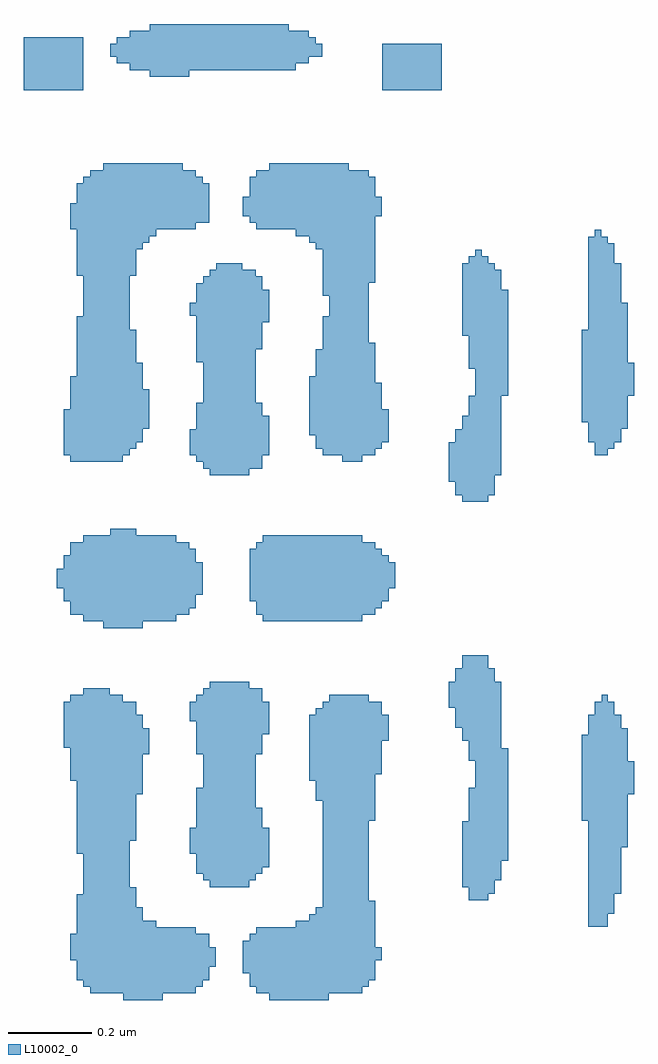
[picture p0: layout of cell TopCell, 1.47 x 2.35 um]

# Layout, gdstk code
import gdstk
lib = gdstk.Library(unit=1e-6, precision=1e-09)
def R(c, l, rs):  # rectangles x0, y0, x1, y1
    for r in rs: c.add(gdstk.rectangle(r[:2], r[2:], *l))
def A(c, l, x, y, w, h, nx, ny, dx, dy):  # array of equal rectangles
    R(c, l, [(x+i*dx, y+j*dy, x+i*dx+w, y+j*dy+h) for i in range(nx) for j in range(ny)])
L10002_0 = (10002, 0)

topcell = lib.new_cell('TopCell')
A(topcell, L10002_0, 1.136, 1.744, 0.016, 0.111, 1, 3, 0, 0.352)
R(topcell, L10002_0, [(1.28,1.136,1.295,1.855), (1.295,1.136,1.311,1.407), (1.311,1.136,1.327,1.359), (1.327,1.136,1.359,1.327), (1.359,1.136,1.375,1.311), (1.632,1.136,1.775,1.311), (1.2,1.152,1.247,1.887), (1.247,1.152,1.279,1.871), (1.279,1.152,1.28,1.855), (1.375,1.152,1.455,1.311), (1.6,1.152,1.632,1.311), (1.775,1.152,1.855,1.855), (1.184,1.168,1.2,1.887), (1.455,1.168,1.471,1.295), (1.584,1.168,1.6,1.295), (1.855,1.168,1.871,1.871), (1.168,1.184,1.184,1.391), (1.471,1.184,1.487,1.295), (1.871,1.184,1.887,1.375), (1.568,1.2,1.584,1.279), (1.487,1.216,1.503,1.263), (1.152,1.232,1.168,1.295), (1.887,1.232,1.903,1.263), (1.696,1.311,1.775,1.327), (2.4,1.312,2.447,1.823), (1.728,1.327,1.775,1.343), (1.744,1.343,1.775,1.359), (2.447,1.344,2.463,1.855), (1.76,1.359,1.775,1.855), (2.112,1.376,2.159,1.647), (2.159,1.392,2.175,1.935), (2.463,1.392,2.479,1.823), (1.488,1.408,1.583,1.903), (2.096,1.408,2.112,1.567), (1.472,1.424,1.488,1.887), (1.583,1.424,1.599,1.887), (2.175,1.424,2.191,1.903), (1.456,1.44,1.472,1.647), (1.599,1.44,1.615,1.599), (1.615,1.456,1.631,1.551), (2.191,1.472,2.207,1.743), (1.168,1.488,1.184,1.871), (1.44,1.488,1.456,1.551), (2.479,1.504,2.495,1.791), (1.295,1.52,1.311,1.855), (1.871,1.568,1.887,1.855), (2.384,1.568,2.4,1.775), (1.744,1.616,1.76,1.839), (1.311,1.632,1.327,1.823), (2.495,1.632,2.511,1.711), (2.128,1.647,2.159,1.967), (1.152,1.664,1.168,1.871), (1.728,1.664,1.744,1.823), (1.887,1.68,1.903,1.855), (2.112,1.712,2.128,1.967), (1.327,1.728,1.343,1.791), (1.456,1.728,1.472,1.871), (1.599,1.728,1.615,1.887), (1.903,1.76,1.919,1.823), (2.096,1.76,2.112,1.967), (1.615,1.776,1.631,1.855), (2.08,1.792,2.096,1.935), (1.44,1.808,1.456,1.855), (2.416,1.823,2.447,1.855), (2.064,1.84,2.08,1.903), (1.776,1.855,1.855,1.871), (2.432,1.855,2.447,1.871), (1.232,2.032,1.327,2.255), (1.184,2.048,1.232,2.255), (1.327,2.048,1.407,2.255), (1.616,2.048,1.855,2.255), (1.152,2.064,1.184,2.239), (1.407,2.064,1.439,2.239), (1.6,2.064,1.616,2.239), (1.855,2.064,1.887,2.239), (1.439,2.08,1.455,2.223), (1.887,2.08,1.903,2.223), (1.584,2.096,1.6,2.223), (1.903,2.096,1.919,2.207), (1.455,2.112,1.471,2.191), (1.12,2.128,1.136,2.175), (1.919,2.128,1.935,2.191), (1.248,2.255,1.311,2.271), (2.096,2.336,2.159,2.543), (2.08,2.352,2.096,2.511), (2.159,2.352,2.175,2.911), (2.064,2.384,2.08,2.479), (1.488,2.4,1.583,2.895), (2.175,2.4,2.191,2.895), (1.472,2.416,1.488,2.879), (1.583,2.416,1.599,2.895), (1.599,2.416,1.615,2.575), (1.152,2.432,1.279,2.639), (1.456,2.432,1.472,2.575), (1.808,2.432,1.823,3.151), (1.823,2.432,1.855,3.135), (1.279,2.448,1.295,3.151), (1.44,2.448,1.456,2.511), (1.615,2.448,1.631,2.543), (1.76,2.448,1.808,2.783), (1.855,2.448,1.871,3.135), (1.871,2.448,1.887,2.719), (2.416,2.448,2.431,2.991), (2.431,2.448,2.447,2.975), (1.295,2.464,1.311,2.751), (1.744,2.464,1.76,2.703), (1.887,2.464,1.903,2.623), (2.447,2.464,2.463,2.959), (1.311,2.48,1.327,2.671), (1.903,2.48,1.919,2.559), (2.4,2.48,2.416,2.975), (2.463,2.48,2.479,2.911), (1.728,2.496,1.744,2.639), (1.327,2.512,1.343,2.607), (2.479,2.512,2.495,2.815), (2.384,2.528,2.4,2.751), (2.112,2.543,2.159,2.591), (2.128,2.591,2.143,2.943), (2.143,2.591,2.159,2.927), (2.191,2.592,2.207,2.847), (2.495,2.592,2.511,2.671), (1.168,2.639,1.279,2.783), (2.112,2.656,2.128,2.927), (1.456,2.672,1.472,2.863), (1.599,2.704,1.615,2.879), (2.096,2.736,2.112,2.911), (1.615,2.768,1.631,2.847), (1.184,2.783,1.279,3.119), (1.776,2.783,1.808,3.151), (1.44,2.784,1.456,2.815), (1.76,2.832,1.776,3.151), (1.871,2.864,1.887,3.119), (1.168,2.88,1.184,3.103), (1.295,2.88,1.311,3.151), (1.504,2.895,1.567,2.911), (1.311,2.944,1.327,3.151), (1.744,2.944,1.76,3.151), (1.327,2.96,1.343,3.151), (1.728,2.96,1.744,3.151), (1.343,2.976,1.359,3.151), (1.696,2.976,1.728,3.151), (1.152,2.992,1.168,3.055), (1.359,2.992,1.423,3.151), (1.423,2.992,1.455,3.135), (1.6,2.992,1.696,3.135), (1.455,3.008,1.471,3.119), (1.471,3.008,1.487,3.103), (1.584,3.008,1.6,3.119), (1.568,3.024,1.584,3.071), (1.887,3.024,1.903,3.071), (1.2,3.119,1.279,3.135), (1.232,3.135,1.279,3.151), (1.632,3.135,1.696,3.151), (1.04,3.328,1.183,3.455), (1.904,3.328,2.047,3.439), (1.344,3.36,1.439,3.487), (1.296,3.376,1.344,3.471), (1.439,3.376,1.679,3.487), (1.679,3.376,1.695,3.471), (1.264,3.392,1.296,3.455), (1.695,3.392,1.727,3.471), (1.248,3.408,1.264,3.439), (1.727,3.408,1.743,3.455), (1.743,3.408,1.759,3.439)])

lib.write_gds('TopCell.gds')
